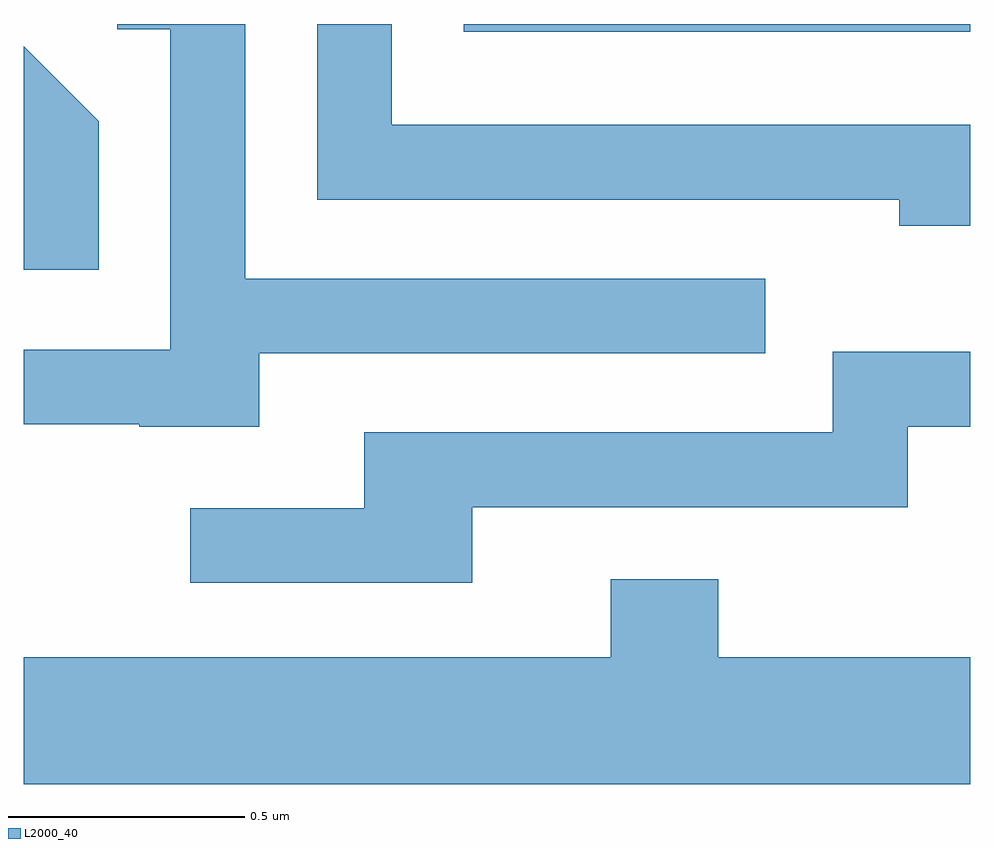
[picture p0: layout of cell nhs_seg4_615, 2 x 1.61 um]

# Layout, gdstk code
import gdstk
lib = gdstk.Library(unit=1e-6, precision=1e-09)
def R(c, l, rs):  # rectangles x0, y0, x1, y1
    for r in rs: c.add(gdstk.rectangle(r[:2], r[2:], *l))
def P(c, l, *ps):  # polygons
    for p in ps: c.add(gdstk.Polygon(p, *l))
L2000_40 = (2000, 40)

nhs_seg4_615 = lib.new_cell('nhs_seg4_615')
R(nhs_seg4_615, L2000_40, [(190.541,1322.966,191.611,1322.982)])
P(nhs_seg4_615, L2000_40, [(191.611,1322.769),(190.389,1322.769),(190.389,1322.982),(190.231,1322.982),(190.231,1322.611),(191.461,1322.611),(191.461,1322.556),(191.611,1322.556)],
  [(190.109,1322.286),(191.178,1322.286),(191.178,1322.444),(190.079,1322.444),(190.079,1322.982),(189.808,1322.982),(189.808,1322.971),(189.921,1322.971),(189.921,1322.294),(189.611,1322.294),(189.611,1322.136),(189.855,1322.136),(189.855,1322.131),(190.109,1322.131)],
  [(189.769,1322.777),(189.611,1322.935),(189.611,1322.463),(189.769,1322.463)],
  [(190.559,1321.961),(191.479,1321.961),(191.479,1322.131),(191.611,1322.131),(191.611,1322.289),(191.321,1322.289),(191.321,1322.119),(190.331,1322.119),(190.331,1321.959),(189.963,1321.959),(189.963,1321.801),(190.559,1321.801)],
  [(191.611,1321.644),(191.079,1321.644),(191.079,1321.809),(190.851,1321.809),(190.851,1321.644),(189.611,1321.644),(189.611,1321.376),(191.611,1321.376)])

lib.write_gds('nhs_seg4_615.gds')
